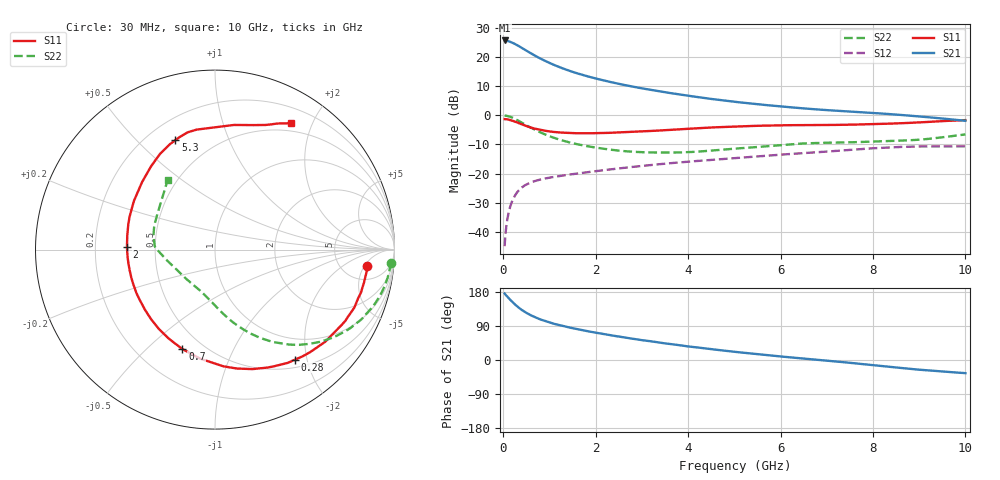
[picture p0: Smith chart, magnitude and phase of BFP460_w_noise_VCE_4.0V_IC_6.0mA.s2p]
! (c) 2016  Infineon Technologies AG, Munich
! Infineon Technologies  Discrete & RF Semiconductors
! BFP460
! VCE =  4.0 V,  IC =  6.0 mA
! Common Emitter S-Parameters:  Jan 2016
# GHz  S  MA  R  50
!  f  S11  S21  S12  S22
! GHz  MAG  ANG  MAG  ANG  MAG  ANG  MAG  ANG
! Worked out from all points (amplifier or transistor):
!   229 points, 30 MHz to 10 GHz, reference 50 ohm
!   highest |S21| = 25.6 dB at 30 MHz (marker M1)
!   |S21| within 3 dB of that: start of sweep to 449.6 MHz
!   unconditionally stable (mu >= 1): 2.902 GHz to 7.748 GHz
!   at 280 MHz: K = 0.19, MSG = 25.5 dB, |S12| = -26.9 dB
!   at 1.78 GHz: K = 0.81, MSG = 16.6 dB, |S12| = -19.6 dB
!   at 10 GHz: K = 0.94, MSG = 4.4 dB, |S12| = -10.7 dB
!   lowest NFmin = 0.83 dB at 450 MHz
!   S11 on the Smith chart (normalised r, x): 30 MHz: 9, -6; 280 MHz: 0.62, -1.80; 700 MHz: 0.39, -0.65; 2 GHz: 0.34, +0.01; 5.3 GHz: 0.31, +0.65; 10 GHz: 0.39, +1.70
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0.03  0.8543 -6.2  18.99 175.5  0.0057 82.4  0.9835 -4.3
0.07  0.8479 -14.5  18.83 169.4  0.0131 80.7  0.9745 -9.4
0.15  0.8219 -30.5  17.98 159.0  0.0269 73.3  0.9362 -19.7
0.2  0.8005 -39.9  17.35 152.9  0.0347 68.8  0.903 -25.6
0.28  0.7585 -53.9  16.11 143.9  0.0451 62.2  0.8406 -34.0
0.36  0.7168 -66.7  14.83 135.9  0.0537 56.9  0.7765 -41.5
0.45  0.6737 -79.6  13.44 128.1  0.0614 51.9  0.7075 -48.6
0.6  0.6135 -97.7  11.41 117.7  0.0705 46.1  0.6079 -57.9
0.7  0.583 -108.1  10.29 112.0  0.0751 43.4  0.553 -62.9
0.9  0.5415 -125.3  8.525 102.9  0.0821 39.8  0.4683 -70.8
1.1  0.5144 -139.3  7.231 95.5  0.0876 37.8  0.4081 -77.1
1.36  0.4969 -154.1  6.019 87.7  0.0941 36.5  0.3535 -83.6
1.7  0.4887 -169.9  4.92 79.0  0.1023 35.7  0.306 -90.9
2  0.4907 178.5  4.24 72.1  0.1097 35.3  0.2781 -97.0
2.62  0.5102 158.6  3.282 59.5  0.1253 34.1  0.2417 -110.8
3.4  0.5465 139.5  2.539 45.7  0.1449 32.0  0.2287 -129.4
4  0.5848 127.6  2.147 35.8  0.1595 29.9  0.2322 -144.3
5.1  0.6417 112.1  1.66 20.4  0.1856 26.1  0.2699 -165.9
5.3  0.6486 109.9  1.596 18.0  0.1911 25.4  0.2769 -168.4
6.8  0.6764 95.8  1.251 0.5  0.2317 18.3  0.3331 177.7
8.4  0.7161 75.6  1.036 -18.5  0.2811 7.0  0.3613 159.9
10  0.8209 59.0  0.8 -34.7  0.2919 -4.9  0.4675 124.4
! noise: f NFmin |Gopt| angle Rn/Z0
0.45  0.83  0.28  16  0.15
0.9  0.84  0.26  37  0.16
1.9  1.07  0.14  103  0.12
3.5  1.18  0.31  -149  0.11
